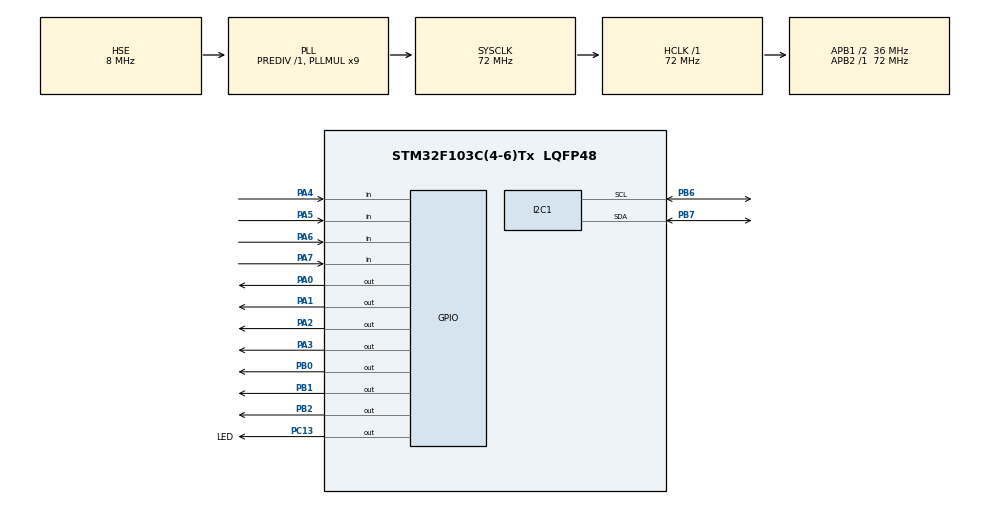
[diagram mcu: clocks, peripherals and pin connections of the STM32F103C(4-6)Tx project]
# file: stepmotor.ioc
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Mcu.Family=STM32F1
Mcu.Name=STM32F103C(4-6)Tx
Mcu.Package=LQFP48
NVIC.PriorityGroup=NVIC_PRIORITYGROUP_4
NVIC.TIM1_UP_IRQn=true\:0\:0\:false\:false\:true\:true\:true
PA0-WKUP.Signal=GPIO_Output
PA1.Signal=GPIO_Output
PA13.Mode=Serial_Wire
PA13.Signal=SYS_JTMS-SWDIO
PA14.Mode=Serial_Wire
PA14.Signal=SYS_JTCK-SWCLK
PA2.Signal=GPIO_Output
PA3.Signal=GPIO_Output
PA4.GPIO_PuPd=GPIO_PULLUP
PA4.Signal=GPIO_Input
PA5.GPIO_PuPd=GPIO_PULLUP
PA5.Signal=GPIO_Input
PA6.GPIO_PuPd=GPIO_PULLUP
PA6.Signal=GPIO_Input
PA7.GPIO_PuPd=GPIO_PULLUP
PA7.Signal=GPIO_Input
PB0.GPIO_PuPd=GPIO_NOPULL
PB0.GPIO_Speed=GPIO_SPEED_FREQ_HIGH
PB0.PinState=GPIO_PIN_RESET
PB0.Signal=GPIO_Output
PB1.Signal=GPIO_Output
PB2.Signal=GPIO_Output
PB6.Mode=I2C
PB6.Signal=I2C1_SCL
PB7.Mode=I2C
PB7.Signal=I2C1_SDA
PC13-TAMPER-RTC.GPIO_Label=LED
PC13-TAMPER-RTC.Signal=GPIO_Output
PC14-OSC32_IN.Mode=LSE-External-Oscillator
PC14-OSC32_IN.Signal=RCC_OSC32_IN
PC15-OSC32_OUT.Mode=LSE-External-Oscillator
PC15-OSC32_OUT.Signal=RCC_OSC32_OUT
PD0-OSC_IN.Mode=HSE-External-Oscillator
PD0-OSC_IN.Signal=RCC_OSC_IN
PD1-OSC_OUT.Mode=HSE-External-Oscillator
PD1-OSC_OUT.Signal=RCC_OSC_OUT
ProjectManager.HeapSize=0x200
ProjectManager.StackSize=0x400
ProjectManager.TargetToolchain=MDK-ARM V5.27
RCC.AHBFreq_Value=72000000
RCC.APB1CLKDivider=RCC_HCLK_DIV2
RCC.APB1Freq_Value=36000000
RCC.APB1TimFreq_Value=72000000
RCC.APB2Freq_Value=72000000
RCC.APB2TimFreq_Value=72000000
RCC.HCLKFreq_Value=72000000
RCC.PLLMUL=RCC_PLL_MUL9
RCC.PLLSourceVirtual=RCC_PLLSOURCE_HSE
RCC.SYSCLKFreq_VALUE=72000000
RCC.SYSCLKSource=RCC_SYSCLKSOURCE_PLLCLK
RCC.USBFreq_Value=72000000
TIM1.AutoReloadPreload=TIM_AUTORELOAD_PRELOAD_ENABLE
TIM1.Period=499
TIM1.Prescaler=71
VP_TIM1_VS_ClockSourceINT.Mode=Internal
board=custom

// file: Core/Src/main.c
/* USER CODE BEGIN Header */
/**
  ******************************************************************************
  * @file           : main.c
  * @brief          : Main program body
  ******************************************************************************
  * @attention
  *
  * <h2><center>&copy; Copyright (c) 2022 STMicroelectronics.
  * All rights reserved.</center></h2>
  *
  * This software component is licensed by ST under BSD 3-Clause license,
  * the "License"; You may not use this file except in compliance with the
  * License. You may obtain a copy of the License at:
  *                        opensource.org/licenses/BSD-3-Clause
  *
  ******************************************************************************
  */
/* USER CODE END Header */
#include "main.h"
#include "i2c.h"
#include "tim.h"
#include "gpio.h"

/* USER CODE BEGIN Includes */
#include "oled.h"
/* USER CODE END Includes */

void SystemClock_Config(void);

/* USER CODE BEGIN 0 */
#define MAX_INPUT_NUM  5
// 0.005 mm/STEP, so 1 mm = 200 step
// 步进电机的细分
// 1600 步/每转 = 1/8细分(实测)
#define DISTANCE_2_STPES(i)  ((i) * 8 / 5) //um
#define STPES_2_DISTANCE(i)  ((i) * 5 / 8) //um
// Now the timmer is 50 000 steps/s

int keyPad_lastKey = 0;
int tim_cnt = 0;
int speed = 0; // mm/S, , MAX 10mm/S
int distance = 0; // MAX = 19mm
int distance_steps = 0;
int distance_pulse = 0;
void flash_led()
{
  HAL_GPIO_TogglePin(LED_GPIO_Port, LED_Pin);
}

void show_err(char *str)
{
  //OLED_Clear();
  OLED_Clearrow(3);
  OLED_ShowString(6,0, str, 16);
}

int KeyPad_Scan(void)
{
  int key = 0;
  uint16_t c_tbl[4] = {GPIO_PIN_0,GPIO_PIN_1,GPIO_PIN_2,GPIO_PIN_3};
  uint16_t r_tbl[4] = {GPIO_PIN_4,GPIO_PIN_5,GPIO_PIN_6,GPIO_PIN_7};
  for (int c = 0; c < 4; c++) {
    HAL_GPIO_WritePin(GPIOA, GPIO_PIN_0|GPIO_PIN_1|GPIO_PIN_2|GPIO_PIN_3, GPIO_PIN_SET);
    HAL_GPIO_WritePin(GPIOA, c_tbl[c], GPIO_PIN_RESET);
    for (int r = 0; r < 4; r++) {
      if (HAL_GPIO_ReadPin(GPIOA, r_tbl[r]) == GPIO_PIN_RESET){
        HAL_Delay(1);
        if (HAL_GPIO_ReadPin(GPIOA, r_tbl[r]) == GPIO_PIN_RESET){
          key |= 1<<c;
          key |= 1<<(r+8);
          while(HAL_GPIO_ReadPin(GPIOA, r_tbl[r] == GPIO_PIN_RESET))
            HAL_Delay(5);
          return key;
        }
      }
    }
  }
  return key;
}

uint16_t	KeyPad_WaitForKey(uint32_t  Timeout_ms)
{
  uint16_t  keyRead;
  while(Timeout_ms==0)
  {
    keyRead = KeyPad_Scan();
		if(keyRead!=0)
		{
			keyPad_lastKey = keyRead;
			return keyRead;
		}
		HAL_Delay(1);
	}
	uint32_t	StartTime = HAL_GetTick();
	while(HAL_GetTick()-StartTime < Timeout_ms)
	{
		keyRead = KeyPad_Scan();
		if(keyRead!=0)
		{
			keyPad_lastKey = keyRead;
			return keyRead;
		}
		HAL_Delay(1);
	}
	keyPad_lastKey=0;
	return 0;
}

char	KeyPad_WaitForKeyGetChar(uint32_t	Timeout_ms)
{
  switch(KeyPad_WaitForKey(Timeout_ms))
  {
    case 0x0000:
      return 0;
		case 0x0101:
			return '1';
		case 0x0201:
			return '2';
		case 0x0401:
			return '3';
		case 0x0801:
			return 'A';
		case 0x0102:
			return '4';
		case 0x0202:
			return '5';
		case 0x0402:
			return '6';
		case 0x0802:
			return 'B';
		case 0x0104:
			return '7';
		case 0x0204:
			return '8';
		case 0x0404:
			return '9';
		case 0x0804:
			return 'C';
		case 0x0108:
			return '*';
		case 0x0208:
			return '0';
		case 0x0408:
			return '#';
		case 0x0808:
			return 'D';

		default:
			return 0;
	}
}

//0.005 mm/STEP

void HAL_TIM_PeriodElapsedCallback(TIM_HandleTypeDef *htim);
void HAL_TIM_PeriodElapsedCallback(TIM_HandleTypeDef *htim)
{ //72M / (8+1) / (9+1) = 8*10^5Hz
  if(htim->Instance == TIM1){ //50
    if ((distance_pulse > 0) && (speed != 0)) {
        HAL_GPIO_TogglePin(GPIOB, GPIO_PIN_0);
        distance_pulse--;
    }
  }
}
/* USER CODE END 0 */

int main(void)
{
  /* USER CODE BEGIN 1 */
  char c = 0;
  int i = 0;
  int input_val = 0;
  GPIO_PinState is_forward = GPIO_PIN_RESET;
  /* USER CODE END 1 */

  /* MCU Configuration--------------------------------------------------------*/

  /* Reset of all peripherals, Initializes the Flash interface and the Systick. */
  HAL_Init();

  /* Configure the system clock */
  SystemClock_Config();

  /* Initialize all configured peripherals */
  MX_GPIO_Init();
  MX_I2C1_Init();
  MX_TIM1_Init();
  /* USER CODE BEGIN 2 */

  //初始化oled屏幕
  OLED_Init();
	//开启OLED显示
	OLED_Display_On();
  OLED_Clear();
  //show_err("Stepmotor");
  //HAL_TIM_Base_Start_IT(&htim1); //10us
  /* USER CODE END 2 */

  /* Infinite loop */
  while (1)
  {

    /* USER CODE BEGIN 3 */
    HAL_Delay(300);
    //flash_led();
    c = KeyPad_WaitForKeyGetChar(20);
    if ((c >= '0') && (c <= '9')) {
      if (i < MAX_INPUT_NUM) {
        input_val *= 10;
        input_val += c - '0';
        i++;
        distance = input_val;
      }
    } else if (c == '#'){
      OLED_Clearrow(3);
      OLED_Clearrow(6);
      HAL_TIM_Base_Stop_IT(&htim1);

      distance_steps = DISTANCE_2_STPES(distance); //debug
      distance_pulse = distance_steps * 2;
      i = 0;
      input_val = 0;
      HAL_TIM_Base_Start_IT(&htim1);
    } else if (c == '*'){  //SPEED
      OLED_Clearrow(3);
      OLED_Clearrow(6);
      HAL_TIM_Base_Stop_IT(&htim1);
      speed = (speed + 1) % 11;
      if (speed != 0) {
        htim1.Init.Period = 500/speed/2 - 1; // 499 = 800steps/s
        HAL_TIM_Base_DeInit(&htim1);
        HAL_TIM_Base_Init(&htim1);
        HAL_TIM_Base_Start_IT(&htim1);
      } else {
        HAL_TIM_Base_Stop_IT(&htim1);
      }
    } else if (c == 'C') {
      HAL_TIM_Base_Stop_IT(&htim1);
      distance = 0;
      distance_steps = 0;
      distance_pulse = 0;
      i = 0;
      input_val = 0;
    } else if (c == 'D') {
      HAL_TIM_Base_Stop_IT(&htim1);
    } else if (c == 'A') {
      HAL_TIM_Base_Start_IT(&htim1);
    } else if (c == 'B') {
      is_forward = !is_forward;
      HAL_GPIO_WritePin(GPIOB, GPIO_PIN_1, is_forward);
      show_err(is_forward ? "Forward" : "Back");
    }
    //
    OLED_ShowNum(0, 3, distance, MAX_INPUT_NUM, 16);
    OLED_ShowNum(48,3, STPES_2_DISTANCE(distance_pulse/2), MAX_INPUT_NUM, 16);
    OLED_ShowString(96,3, "um", 16);
    OLED_ShowNum(6,6, speed, MAX_INPUT_NUM, 16);
    OLED_ShowString(48,6, "mm/s", 16);

  }
  /* USER CODE END 3 */
}

void SystemClock_Config(void)
{
  RCC_OscInitTypeDef RCC_OscInitStruct = {0};
  RCC_ClkInitTypeDef RCC_ClkInitStruct = {0};

  /** Initializes the RCC Oscillators according to the specified parameters
  * in the RCC_OscInitTypeDef structure.
  */
  RCC_OscInitStruct.OscillatorType = RCC_OSCILLATORTYPE_HSE;
  RCC_OscInitStruct.HSEState = RCC_HSE_ON;
  RCC_OscInitStruct.HSEPredivValue = RCC_HSE_PREDIV_DIV1;
  RCC_OscInitStruct.HSIState = RCC_HSI_ON;
  RCC_OscInitStruct.PLL.PLLState = RCC_PLL_ON;
  RCC_OscInitStruct.PLL.PLLSource = RCC_PLLSOURCE_HSE;
  RCC_OscInitStruct.PLL.PLLMUL = RCC_PLL_MUL9;
  if (HAL_RCC_OscConfig(&RCC_OscInitStruct) != HAL_OK)
  {
    Error_Handler();
  }
  /** Initializes the CPU, AHB and APB buses clocks
  */
  RCC_ClkInitStruct.ClockType = RCC_CLOCKTYPE_HCLK|RCC_CLOCKTYPE_SYSCLK
                              |RCC_CLOCKTYPE_PCLK1|RCC_CLOCKTYPE_PCLK2;
  RCC_ClkInitStruct.SYSCLKSource = RCC_SYSCLKSOURCE_PLLCLK;
  RCC_ClkInitStruct.AHBCLKDivider = RCC_SYSCLK_DIV1;
  RCC_ClkInitStruct.APB1CLKDivider = RCC_HCLK_DIV2;
  RCC_ClkInitStruct.APB2CLKDivider = RCC_HCLK_DIV1;

  if (HAL_RCC_ClockConfig(&RCC_ClkInitStruct, FLASH_LATENCY_2) != HAL_OK)
  {
    Error_Handler();
  }
}

void Error_Handler(void)
{
  __disable_irq();
  while (1)
  {
  }
}

/************************ (C) COPYRIGHT STMicroelectronics *****END OF FILE****/
